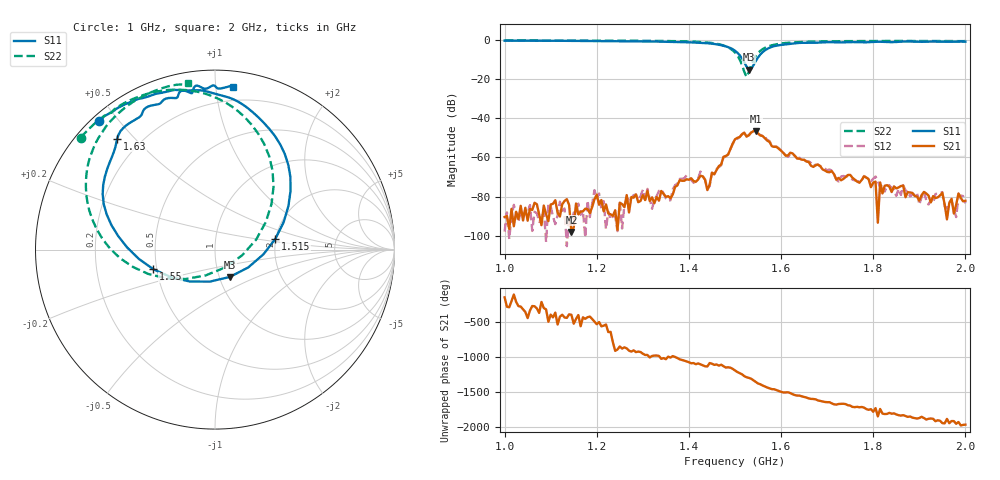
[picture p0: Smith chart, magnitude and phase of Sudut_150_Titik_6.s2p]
# Hz S RI R 50
! CMT, C1220, 16058040, 17.2.0/1
! Date: 14/08/2018 12:22:12
! Data: Format (Calibration Info)
! Freq  S11: Re/Im (F2)  S21: Re/Im (F2)  S12: Re/Im (F2)  S22: Re/Im (F2)
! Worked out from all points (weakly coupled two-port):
!   201 points, 1 GHz to 2 GHz, reference 50 ohm
!   highest |S21| = -46.50 dB at 1.545 GHz (marker M1); lowest = -98.0 dB at 1.145 GHz (marker M2)
!   lowest |S11| = -15.2 dB at 1.53 GHz (marker M3), VSWR 1.42, Z = 56.1 - j17.6 ohm
!   |S11| at or under -10 dB: 1.517 GHz to 1.547 GHz (30.29 MHz wide, 1.98 % of centre)
!   |S22| runs from -18.8 to -0.2 dB; largest |S21 - S12| = 0.00028
!   S11 on the Smith chart (normalised r, x): 1 GHz: 0.02, +0.44; 1.515 GHz: 1.99, +0.27; 1.55 GHz: 0.48, -0.12; 1.63 GHz: 0.12, +0.45; 2 GHz: 0.11, +1.11
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1e9  -0.6452 0.7157  -2.6e-05 -1.51e-05  -1.12e-06 1.27e-05  -0.748 0.6242
1.145e9  -0.4932 0.813  9.81e-06 -7.84e-06  -1.83e-05 6.55e-06  -0.6361 0.7305
1.17e9  -0.4676 0.8236  1.14e-05 -4.05e-05  8.59e-06 -4.29e-05  -0.6112 0.7487
1.335e9  -0.2014 0.8881  -7.39e-06 7.85e-05  1.89e-05 0.000139  -0.3961 0.8621
1.36e9  -0.128 0.8873  2.81e-05 8.63e-05  6.46e-05 4.81e-05  -0.3409 0.8773
1.38e9  -0.074 0.8867  0.000181 0.000192  0.00013 0.000251  -0.2878 0.8865
1.425e9  0.0842 0.8447  0.000311 -0.00014  0.000402 -0.000172  -0.1158 0.8827
1.44e9  0.1439 0.8151  8.44e-05 -0.00012  7.86e-05 -0.000142  -0.0367 0.8627
1.5e9  0.4208 0.3274  -0.00104 -0.00271  -0.00102 -0.00254  0.3261 0.3504
1.515e9  0.3368 0.0607  -0.00377 -0.000964  -0.00375 -0.00113  0.229 0.0555
1.53e9  0.0823 -0.1523  -0.00292 0.00224  -0.00297 0.00222  -0.0518 -0.1437
1.545e9  -0.2464 -0.1532  0.000388 0.00472  0.000302 0.00465  -0.3728 -0.1352
1.55e9  -0.3428 -0.1097  0.0019 0.00362  0.00183 0.00367  -0.4574 -0.0965
1.63e9  -0.5449 0.6184  -0.000251 -0.00106  -0.00017 -0.00108  -0.6857 0.5437
1.67e9  -0.4242 0.7361  -0.000535 -0.000208  -0.000566 -0.000203  -0.6174 0.6711
1.725e9  -0.3179 0.8094  -0.000194 0.00023  -0.000163 0.00018  -0.5276 0.7684
1.805e9  -0.194 0.8807  7.95e-05 0.000228  0.000318 7.4e-05  -0.4113 0.8498
1.81e9  -0.1859 0.885  1.46e-05 -1.58e-05  0.000234 -7.14e-05  -0.4045 0.8537
1.815e9  -0.1762 0.8861  0.000119 0.000196  0.00017 -4.4e-05  -0.3977 0.8569
1.82e9  -0.165 0.8842  0.000119 -1.47e-05  0.000205 -5.36e-05  -0.3908 0.86
1.835e9  -0.1345 0.872  0.000179 1.11e-05  0.000184 -6.13e-05  -0.3711 0.8698
2e9  0.098 0.905  -7.54e-05 -2.06e-05  -6.72e-05 -3.34e-07  -0.1486 0.9279
